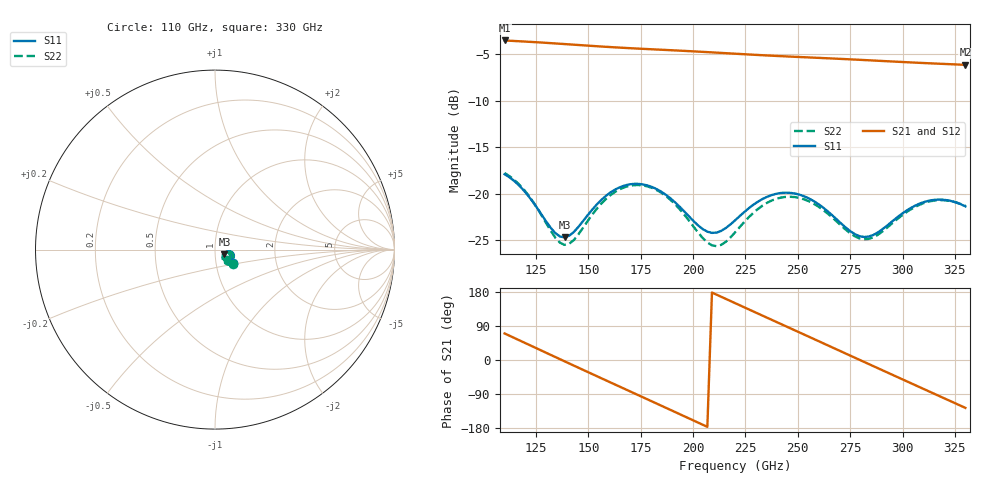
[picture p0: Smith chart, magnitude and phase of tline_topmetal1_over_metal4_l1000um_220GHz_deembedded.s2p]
! Created with skrf 2.2.0 (http://scikit-rf.org).
# GHz S DB R 50.0
! Port[1] = P1
! Port[2] = P2
!freq dBS11 angS11 dBS21 angS21 dBS12 angS12 dBS22 angS22
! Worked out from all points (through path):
!   101 points, 110 GHz to 330 GHz, reference 50 ohm
!   highest |S21| = -3.51 dB at 110 GHz (marker M1); lowest = -6.1 dB at 330 GHz (marker M2)
!   group delay of S21, straight-line fit = 7.02 ps
!   lowest |S11| = -24.7 dB at 138.6 GHz (marker M3), VSWR 1.12, Z = 55.5 - j2.78 ohm
!   |S11| at or under -10 dB: start of sweep to end of sweep
!   |S22| runs from -25.7 to -17.8 dB; largest |S21 - S12| = 1.1e-13
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110  -17.91 -36.6  -3.51 70.0  -3.51 70.0  -17.79 -39.8
125.4  -21.51 -48.2  -3.71 30.5  -3.71 30.5  -21.51 -54.0
138.6  -24.71 -25.4  -3.90 -3.4  -3.90 -3.4  -25.52 -31.0
147.4  -22.97 -8.1  -4.03 -25.8  -4.03 -25.8  -23.69 -9.7
158.4  -20.24 -8.9  -4.19 -53.7  -4.19 -53.7  -20.58 -10.1
167.2  -19.14 -17.5  -4.31 -76.0  -4.31 -76.0  -19.32 -19.5
176  -19.01 -27.9  -4.41 -98.3  -4.41 -98.3  -19.12 -30.8
184.8  -19.80 -37.1  -4.51 -120.6  -4.51 -120.6  -19.91 -41.5
193.6  -21.42 -42.1  -4.61 -142.9  -4.61 -142.9  -21.68 -48.4
202.4  -23.43 -38.0  -4.71 -165.2  -4.71 -165.2  -24.19 -45.8
211.2  -24.20 -23.6  -4.82 172.4  -4.82 172.4  -25.66 -28.3
220  -22.88 -12.9  -4.94 150.2  -4.94 150.2  -24.18 -12.4
231  -20.86 -14.2  -5.08 122.5  -5.08 122.5  -21.65 -12.2
239.8  -20.02 -21.5  -5.18 100.3  -5.18 100.3  -20.55 -19.8
248.6  -19.99 -30.5  -5.27 78.2  -5.27 78.2  -20.38 -29.1
257.4  -20.78 -38.3  -5.36 56.1  -5.36 56.1  -21.07 -37.5
268.4  -22.74 -41.8  -5.47 28.3  -5.47 28.3  -22.97 -41.6
277.2  -24.36 -34.7  -5.57 6.1  -5.57 6.1  -24.60 -34.7
283.8  -24.63 -24.4  -5.65 -10.5  -5.65 -10.5  -24.88 -24.4
294.8  -23.04 -13.9  -5.77 -38.2  -5.77 -38.2  -23.25 -13.6
312.4  -20.78 -22.0  -5.97 -82.3  -5.97 -82.3  -20.87 -21.5
330  -21.38 -36.9  -6.14 -126.4  -6.14 -126.4  -21.32 -36.1
